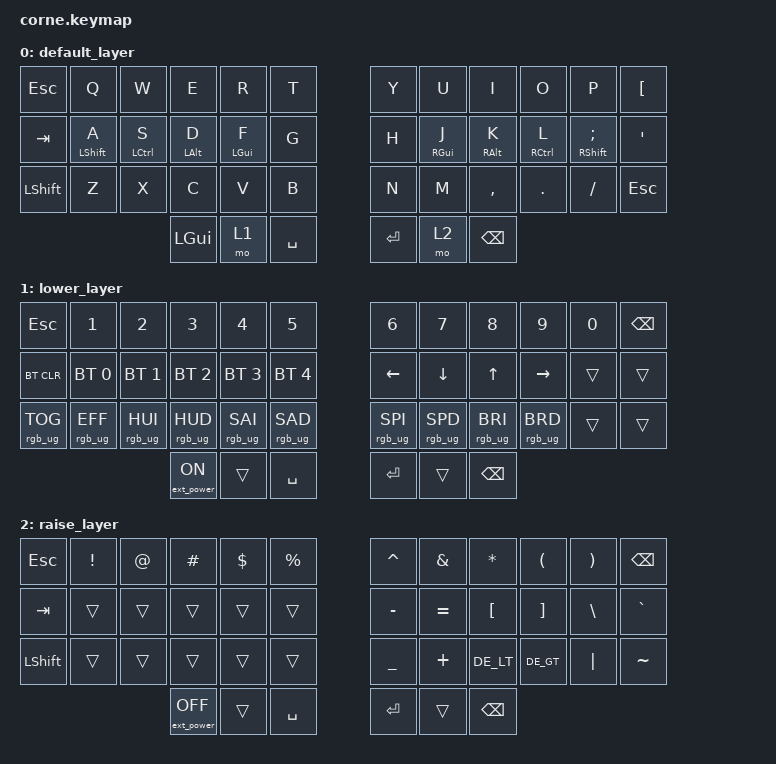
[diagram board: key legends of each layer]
/*
 * Copyright (c) 2020 The ZMK Contributors
 *
 * SPDX-License-Identifier: MIT
 */

#include <behaviors.dtsi>
#include <dt-bindings/zmk/keys.h>
#include <dt-bindings/zmk/bt.h>
#include <locale/keys_de.h>
#include <dt-bindings/zmk/rgb.h>
#include <dt-bindings/zmk/ext_power.h>

&led_strip {
  chain-length = <27>;
};

&mt {
  tapping-term-ms = <200>;
};

/ {
        keymap {
                compatible = "zmk,keymap";

                default_layer {
// -----------------------------------------------------------------------------------------
// |  TAB |  Q  |  W  |  E  |  R  |  T  |   |  Y  |  U   |  I  |  O  |  P  | BSPC |
// | CTRL |  A  |  S  |  D  |  F  |  G  |   |  H  |  J   |  K  |  L  |  ;  |  '   |
// | SHFT |  Z  |  X  |  C  |  V  |  B  |   |  N  |  M   |  ,  |  .  |  /  | ESC  |
//                    | GUI | LWR | SPC |   | ENT | RSE  | ALT |
                        bindings = <
   &kp ESC   &kp Q &kp W &kp E &kp R &kp T                          &kp Y &kp U  &kp I     &kp O   &kp P    &kp LBKT
   &kp TAB &mt LSHIFT A &mt LCTRL S &mt LALT D &mt LGUI F &kp G   &kp H &mt RGUI J  &mt RALT K     &mt RCTRL L   &mt RSHIFT SEMI &kp SQT
   &kp LSHFT &kp Z &kp X &kp C &kp V &kp B                          &kp N &kp M  &kp COMMA &kp DOT &kp FSLH &kp ESC
                  &kp LGUI &mo 1 &kp SPACE                          &kp RET &mo 2 &kp BSPC
                        >;
                };
                lower_layer {
// -----------------------------------------------------------------------------------------
// |  TAB |  1  |  2  |  3  |  4  |  5  |   |  6  |  7  |  8  |  9  |  0  | BSPC |
// | BTCLR| BT1 | BT2 | BT3 | BT4 | BT5 |   | LFT | DWN |  UP | RGT |     |      |
// | SHFT |     |     |     |     |     |   |     |     |     |     |     |      |
//                    | GUI |     | SPC |   | ENT |     | ALT |
                        bindings = <
   &kp ESC    &kp N1       &kp N2       &kp N3       &kp N4       &kp N5         &kp N6   &kp N7   &kp N8 &kp N9    &kp N0 &kp BSPC
   &bt BT_CLR &bt BT_SEL 0 &bt BT_SEL 1 &bt BT_SEL 2 &bt BT_SEL 3 &bt BT_SEL 4   &kp LEFT &kp DOWN &kp UP &kp RIGHT &trans &trans
   &rgb_ug RGB_TOG  &rgb_ug RGB_EFF       &rgb_ug RGB_HUI       &rgb_ug RGB_HUD       &rgb_ug RGB_SAI       &rgb_ug RGB_SAD &rgb_ug RGB_SPI &rgb_ug RGB_SPD &rgb_ug RGB_BRI &rgb_ug RGB_BRD &trans &trans
                                    &ext_power EP_ON    &trans       &kp SPACE      &kp RET  &trans   &kp BSPC
                        >;
                };

                raise_layer {
// -----------------------------------------------------------------------------------------
// |  TAB |  !  |  @  |  #  |  $  |  %  |   |  ^  |  &  |  *  |  (  |  )  | BSPC |
// | CTRL |     |     |     |     |     |   |  -  |  =  |  [  |  ]  |  \  |  `   |
// | SHFT |     |     |     |     |     |   |  _  |  +  |  {  |  }  | "|" |  ~   |
//                    | GUI |     | SPC |   | ENT |     | ALT |
                        bindings = <
   &kp  ESC  &kp EXCL &kp AT &kp HASH &kp DLLR &kp PRCNT   &kp CARET &kp AMPS  &kp ASTRK &kp LPAR &kp RPAR &kp BSPC
   &kp TAB &trans   &trans &trans   &trans   &trans      &kp MINUS &kp EQUAL &kp LBKT  &kp RBKT &kp BSLH &kp GRAVE
   &kp LSHFT &trans   &trans &trans   &trans   &trans      &kp UNDER &kp PLUS  &kp DE_LT  &kp DE_GT &kp PIPE &kp TILDE
                             &ext_power EP_OFF &trans   &kp SPACE   &kp RET   &trans    &kp BSPC
                        >;
                };
        };
};
